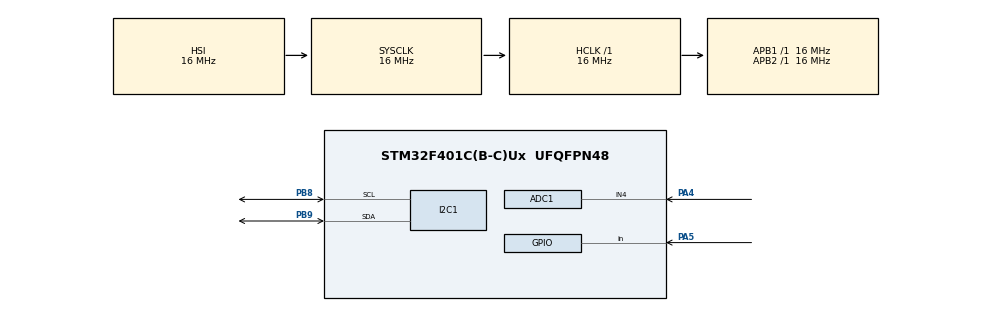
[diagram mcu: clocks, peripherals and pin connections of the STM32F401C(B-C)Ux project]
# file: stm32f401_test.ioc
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ADC1.Channel-2\#ChannelRegularConversion=ADC_CHANNEL_4
ADC1.NbrOfConversionFlag=1
ADC1.Rank-2\#ChannelRegularConversion=1
ADC1.SamplingTime-2\#ChannelRegularConversion=ADC_SAMPLETIME_3CYCLES
ADC1.master=1
Mcu.Family=STM32F4
Mcu.Name=STM32F401C(B-C)Ux
Mcu.Package=UFQFPN48
NVIC.PriorityGroup=NVIC_PRIORITYGROUP_4
PA4.Signal=ADCx_IN4
PA5.GPIO_PuPd=GPIO_PULLUP
PA5.Signal=GPIO_Input
PB8.Mode=I2C
PB8.Signal=I2C1_SCL
PB9.Mode=I2C
PB9.Signal=I2C1_SDA
ProjectManager.HeapSize=0x200
ProjectManager.StackSize=0x400
ProjectManager.TargetToolchain=STM32CubeIDE
RCC.AHBFreq_Value=16000000
RCC.APB1Freq_Value=16000000
RCC.APB2Freq_Value=16000000
RCC.CortexFreq_Value=16000000
RCC.HSE_VALUE=25000000
RCC.HSI_VALUE=16000000
RCC.LSE_VALUE=32768
RCC.SYSCLKFreq_VALUE=16000000
RCC.VCOOutputFreq_Value=192000000
SH.ADCx_IN4.0=ADC1_IN4,IN4
board=custom

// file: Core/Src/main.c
/* USER CODE BEGIN Header */
/**
  ******************************************************************************
  * @file           : main.c
  * @brief          : Main program body
  ******************************************************************************
  */
/* USER CODE END Header */
#include "main.h"

/* USER CODE BEGIN Includes */
#include <string.h>
/* USER CODE END Includes */

/* USER CODE BEGIN PTD */
typedef struct
{
  int16_t x;
  int16_t y;
  uint16_t speed_q8;
  uint16_t step_accumulator;
} EnemyState;

typedef struct
{
  int16_t ship_x;
  int16_t bullet_x;
  int16_t bullet_y;
  uint8_t bullet_active;
  uint8_t fire_button_prev;
  uint8_t restart_button_prev;
  uint8_t game_over;
  uint8_t hit_flash_frames;
  uint16_t joy_x;
  uint16_t joy_center;
  uint16_t score;
  uint32_t rng_state;
  EnemyState enemies[2];
} GameState;
/* USER CODE END PTD */

/* USER CODE BEGIN PD */
#define OLED_I2C_ADDRESS        (0x3CU << 1)
#define OLED_WIDTH              128U
#define OLED_HEIGHT             64U
#define OLED_PAGE_COUNT         (OLED_HEIGHT / 8U)
#define OLED_BUFFER_SIZE        (OLED_WIDTH * OLED_PAGE_COUNT)

#define SHIP_WIDTH              9
#define SHIP_HEIGHT             8
#define SHIP_Y                  ((int16_t)(OLED_HEIGHT - SHIP_HEIGHT))

#define BULLET_WIDTH            1
#define BULLET_HEIGHT           3
#define BULLET_SPEED            3

#define ENEMY_COUNT             2
#define ENEMY_WIDTH             7
#define ENEMY_HEIGHT            7
#define ENEMY_BASE_SPEED_Q8     10U
#define ENEMY_SCORE_SPEED_Q8    3U
#define ENEMY_SLOT_SPEED_Q8     10U
#define ENEMY_VARIATION_Q8      20U
#define ENEMY_MAX_SPEED_Q8      180U

#define JOY_DEADZONE            450
#define JOY_SPEED_STEP          350
#define PLAYER_MIN_SPEED        1
#define PLAYER_MAX_SPEED        5
#define FRAME_TIME_MS           25U
#define SCORE_MAX               999U
#define HIT_FLASH_FRAMES        3U

#define FIRE_BUTTON_PIN         GPIO_PIN_5
#define RESTART_BUTTON_PIN      GPIO_PIN_5
/* USER CODE END PD */

ADC_HandleTypeDef hadc1;

I2C_HandleTypeDef hi2c1;

/* USER CODE BEGIN PV */
static GameState game;
static uint8_t oled_frame[OLED_BUFFER_SIZE];
static uint8_t oled_previous_frame[OLED_BUFFER_SIZE];
/* USER CODE END PV */

void SystemClock_Config(void);
static void MX_GPIO_Init(void);
static void MX_I2C1_Init(void);
static void MX_ADC1_Init(void);
/* USER CODE BEGIN PFP */
static HAL_StatusTypeDef OLED_WriteCommand(uint8_t cmd);
static HAL_StatusTypeDef OLED_WriteData(const uint8_t *buf, uint16_t size);
static void OLED_Init(void);
static void OLED_ClearBuffer(uint8_t *buffer);
static void OLED_FlushBuffer(const uint8_t *current, uint8_t *previous);
static void OLED_SetPixel(uint8_t *buffer, int16_t x, int16_t y);
static void OLED_DrawHLine(uint8_t *buffer, int16_t x, int16_t y, int16_t width);
static void OLED_DrawVLine(uint8_t *buffer, int16_t x, int16_t y, int16_t height);
static void OLED_DrawRect(uint8_t *buffer, int16_t x, int16_t y, int16_t width, int16_t height);
static void OLED_DrawSpriteRows(uint8_t *buffer, int16_t x, int16_t y,
                                const uint16_t *rows, uint8_t width, uint8_t height);
static void OLED_DrawChar5x7(uint8_t *buffer, int16_t x, int16_t y, char c);
static void OLED_DrawText5x7(uint8_t *buffer, int16_t x, int16_t y, const char *text);
static void OLED_DrawNumber3(uint8_t *buffer, int16_t x, int16_t y, uint16_t value);
static uint8_t ButtonPressed(uint16_t pin);
static uint16_t Read_Joystick_X(void);
static uint16_t Calibrate_Joystick_X(void);
static uint32_t NextRandom(GameState *state);
static void SpawnEnemy(GameState *state, EnemyState *enemy, uint8_t slot, uint8_t initial_spawn);
static void Reset_Game(GameState *state);
static int16_t GetShipStepFromJoystick(int32_t joy_delta);
static uint8_t CheckRectCollision(int16_t ax, int16_t ay, uint8_t aw, uint8_t ah,
                                  int16_t bx, int16_t by, uint8_t bw, uint8_t bh);
static void Game_ProcessInput(GameState *state);
static void Game_Update(GameState *state);
static void Game_Render(const GameState *state);
/* USER CODE END PFP */

/* USER CODE BEGIN 0 */
static const uint16_t ship_sprite[SHIP_HEIGHT] = {
  0x010,
  0x038,
  0x07C,
  0x0FE,
  0x1FF,
  0x06C,
  0x0EE,
  0x183
};

static const uint16_t enemy_sprite[ENEMY_HEIGHT] = {
  0x01C,
  0x03E,
  0x06B,
  0x07F,
  0x05D,
  0x063,
  0x022
};

static HAL_StatusTypeDef OLED_WriteCommand(uint8_t cmd)
{
  uint8_t data[2];

  data[0] = 0x00;
  data[1] = cmd;

  return HAL_I2C_Master_Transmit(&hi2c1, OLED_I2C_ADDRESS, data, 2, 100);
}

static HAL_StatusTypeDef OLED_WriteData(const uint8_t *buf, uint16_t size)
{
  uint8_t data[129];

  if (size > 128U)
  {
    return HAL_ERROR;
  }

  data[0] = 0x40;
  memcpy(&data[1], buf, size);

  return HAL_I2C_Master_Transmit(&hi2c1, OLED_I2C_ADDRESS, data, size + 1U, 100);
}

static void OLED_Init(void)
{
  HAL_Delay(100);

  OLED_WriteCommand(0xAE);
  OLED_WriteCommand(0x20);
  OLED_WriteCommand(0x02);

  OLED_WriteCommand(0xB0);
  OLED_WriteCommand(0xC8);
  OLED_WriteCommand(0x00);
  OLED_WriteCommand(0x10);
  OLED_WriteCommand(0x40);

  OLED_WriteCommand(0x81);
  OLED_WriteCommand(0x7F);

  OLED_WriteCommand(0xA1);
  OLED_WriteCommand(0xA6);
  OLED_WriteCommand(0xA8);
  OLED_WriteCommand(0x3F);

  OLED_WriteCommand(0xA4);
  OLED_WriteCommand(0xD3);
  OLED_WriteCommand(0x00);

  OLED_WriteCommand(0xD5);
  OLED_WriteCommand(0x80);

  OLED_WriteCommand(0xD9);
  OLED_WriteCommand(0xF1);

  OLED_WriteCommand(0xDA);
  OLED_WriteCommand(0x12);

  OLED_WriteCommand(0xDB);
  OLED_WriteCommand(0x40);

  OLED_WriteCommand(0x8D);
  OLED_WriteCommand(0x14);

  OLED_WriteCommand(0xAF);
}

static void OLED_ClearBuffer(uint8_t *buffer)
{
  memset(buffer, 0, OLED_BUFFER_SIZE);
}

static void OLED_FlushBuffer(const uint8_t *current, uint8_t *previous)
{
  uint8_t page;

  for (page = 0; page < OLED_PAGE_COUNT; page++)
  {
    uint16_t base = (uint16_t)page * OLED_WIDTH;
    int16_t start = -1;
    int16_t end = -1;
    uint16_t x;

    for (x = 0; x < OLED_WIDTH; x++)
    {
      if (current[base + x] != previous[base + x])
      {
        if (start < 0)
        {
          start = (int16_t)x;
        }
        end = (int16_t)x;
      }
    }

    if (start < 0)
    {
      continue;
    }

    if (OLED_WriteCommand((uint8_t)(0xB0U + page)) != HAL_OK)
    {
      continue;
    }

    if (OLED_WriteCommand((uint8_t)(start & 0x0F)) != HAL_OK)
    {
      continue;
    }

    if (OLED_WriteCommand((uint8_t)(0x10U | ((uint16_t)start >> 4))) != HAL_OK)
    {
      continue;
    }

    if (OLED_WriteData(&current[base + (uint16_t)start], (uint16_t)(end - start + 1)) != HAL_OK)
    {
      continue;
    }

    memcpy(&previous[base + (uint16_t)start],
           &current[base + (uint16_t)start],
           (size_t)(end - start + 1));
  }
}

static void OLED_SetPixel(uint8_t *buffer, int16_t x, int16_t y)
{
  uint16_t index;

  if ((x < 0) || (x >= (int16_t)OLED_WIDTH) || (y < 0) || (y >= (int16_t)OLED_HEIGHT))
  {
    return;
  }

  index = (uint16_t)x + ((uint16_t)(y / 8) * OLED_WIDTH);
  buffer[index] |= (uint8_t)(1U << (uint8_t)(y % 8));
}

static void OLED_DrawHLine(uint8_t *buffer, int16_t x, int16_t y, int16_t width)
{
  int16_t column;

  for (column = 0; column < width; column++)
  {
    OLED_SetPixel(buffer, x + column, y);
  }
}

static void OLED_DrawVLine(uint8_t *buffer, int16_t x, int16_t y, int16_t height)
{
  int16_t row;

  for (row = 0; row < height; row++)
  {
    OLED_SetPixel(buffer, x, y + row);
  }
}

static void OLED_DrawRect(uint8_t *buffer, int16_t x, int16_t y, int16_t width, int16_t height)
{
  if ((width <= 0) || (height <= 0))
  {
    return;
  }

  OLED_DrawHLine(buffer, x, y, width);
  OLED_DrawHLine(buffer, x, (int16_t)(y + height - 1), width);
  OLED_DrawVLine(buffer, x, y, height);
  OLED_DrawVLine(buffer, (int16_t)(x + width - 1), y, height);
}

static void OLED_DrawSpriteRows(uint8_t *buffer, int16_t x, int16_t y,
                                const uint16_t *rows, uint8_t width, uint8_t height)
{
  uint8_t row;
  uint8_t column;

  for (row = 0; row < height; row++)
  {
    for (column = 0; column < width; column++)
    {
      if ((rows[row] & (uint16_t)(1U << (width - 1U - column))) != 0U)
      {
        OLED_SetPixel(buffer, (int16_t)(x + column), (int16_t)(y + row));
      }
    }
  }
}

static const uint8_t *Glyph5x7(char c)
{
  static const uint8_t glyph_space[5] = {0x00, 0x00, 0x00, 0x00, 0x00};
  static const uint8_t glyph_0[5] = {0x3E, 0x51, 0x49, 0x45, 0x3E};
  static const uint8_t glyph_1[5] = {0x00, 0x42, 0x7F, 0x40, 0x00};
  static const uint8_t glyph_2[5] = {0x62, 0x51, 0x49, 0x49, 0x46};
  static const uint8_t glyph_3[5] = {0x22, 0x49, 0x49, 0x49, 0x36};
  static const uint8_t glyph_4[5] = {0x18, 0x14, 0x12, 0x7F, 0x10};
  static const uint8_t glyph_5[5] = {0x2F, 0x49, 0x49, 0x49, 0x31};
  static const uint8_t glyph_6[5] = {0x3E, 0x49, 0x49, 0x49, 0x32};
  static const uint8_t glyph_7[5] = {0x01, 0x71, 0x09, 0x05, 0x03};
  static const uint8_t glyph_8[5] = {0x36, 0x49, 0x49, 0x49, 0x36};
  static const uint8_t glyph_9[5] = {0x26, 0x49, 0x49, 0x49, 0x3E};
  static const uint8_t glyph_A[5] = {0x7E, 0x11, 0x11, 0x11, 0x7E};
  static const uint8_t glyph_C[5] = {0x3E, 0x41, 0x41, 0x41, 0x22};
  static const uint8_t glyph_E[5] = {0x7F, 0x49, 0x49, 0x49, 0x41};
  static const uint8_t glyph_G[5] = {0x3E, 0x41, 0x49, 0x49, 0x7A};
  static const uint8_t glyph_M[5] = {0x7F, 0x02, 0x0C, 0x02, 0x7F};
  static const uint8_t glyph_O[5] = {0x3E, 0x41, 0x41, 0x41, 0x3E};
  static const uint8_t glyph_P[5] = {0x7F, 0x09, 0x09, 0x09, 0x06};
  static const uint8_t glyph_R[5] = {0x7F, 0x09, 0x19, 0x29, 0x46};
  static const uint8_t glyph_S[5] = {0x26, 0x49, 0x49, 0x49, 0x32};
  static const uint8_t glyph_V[5] = {0x1F, 0x20, 0x40, 0x20, 0x1F};

  switch (c)
  {
    case '0': return glyph_0;
    case '1': return glyph_1;
    case '2': return glyph_2;
    case '3': return glyph_3;
    case '4': return glyph_4;
    case '5': return glyph_5;
    case '6': return glyph_6;
    case '7': return glyph_7;
    case '8': return glyph_8;
    case '9': return glyph_9;
    case 'A': return glyph_A;
    case 'C': return glyph_C;
    case 'E': return glyph_E;
    case 'G': return glyph_G;
    case 'M': return glyph_M;
    case 'O': return glyph_O;
    case 'P': return glyph_P;
    case 'R': return glyph_R;
    case 'S': return glyph_S;
    case 'V': return glyph_V;
    case ' ': return glyph_space;
    default:  return glyph_space;
  }
}

static void OLED_DrawChar5x7(uint8_t *buffer, int16_t x, int16_t y, char c)
{
  const uint8_t *glyph = Glyph5x7(c);
  uint8_t column;
  uint8_t row;

  for (column = 0; column < 5U; column++)
  {
    for (row = 0; row < 7U; row++)
    {
      if ((glyph[column] & (uint8_t)(1U << row)) != 0U)
      {
        OLED_SetPixel(buffer, (int16_t)(x + column), (int16_t)(y + row));
      }
    }
  }
}

static void OLED_DrawText5x7(uint8_t *buffer, int16_t x, int16_t y, const char *text)
{
  while (*text != '\0')
  {
    OLED_DrawChar5x7(buffer, x, y, *text);
    x += 6;
    text++;
  }
}

static void OLED_DrawNumber3(uint8_t *buffer, int16_t x, int16_t y, uint16_t value)
{
  char digits[4];

  if (value > SCORE_MAX)
  {
    value = SCORE_MAX;
  }

  digits[0] = (char)('0' + ((value / 100U) % 10U));
  digits[1] = (char)('0' + ((value / 10U) % 10U));
  digits[2] = (char)('0' + (value % 10U));
  digits[3] = '\0';

  OLED_DrawText5x7(buffer, x, y, digits);
}

static uint8_t ButtonPressed(uint16_t pin)
{
  return (HAL_GPIO_ReadPin(GPIOA, pin) == GPIO_PIN_RESET) ? 1U : 0U;
}

static uint16_t Read_Joystick_X(void)
{
  uint16_t value = 2048U;

  if (HAL_ADC_Start(&hadc1) != HAL_OK)
  {
    return value;
  }

  if (HAL_ADC_PollForConversion(&hadc1, 100) == HAL_OK)
  {
    value = (uint16_t)HAL_ADC_GetValue(&hadc1);
  }

  HAL_ADC_Stop(&hadc1);

  return value;
}

static uint16_t Calibrate_Joystick_X(void)
{
  uint32_t sum = 0;
  uint8_t sample;

  for (sample = 0; sample < 8U; sample++)
  {
    sum += Read_Joystick_X();
  }

  return (uint16_t)(sum / 8U);
}

static uint32_t NextRandom(GameState *state)
{
  state->rng_state = (state->rng_state * 1664525UL) + 1013904223UL;
  return state->rng_state;
}

static void SpawnEnemy(GameState *state, EnemyState *enemy, uint8_t slot, uint8_t initial_spawn)
{
  uint16_t random_x;
  uint16_t speed_q8;

  random_x = (uint16_t)(NextRandom(state) % (OLED_WIDTH - ENEMY_WIDTH));
  enemy->x = (int16_t)random_x;
  enemy->step_accumulator = 0;

  if (initial_spawn != 0U)
  {
    enemy->y = (int16_t)(-12 - ((int16_t)slot * 18));
  }
  else
  {
    enemy->y = (int16_t)(-10 - (int16_t)(NextRandom(state) % 20U));
  }

  speed_q8 = (uint16_t)(ENEMY_BASE_SPEED_Q8 +
                        (state->score * ENEMY_SCORE_SPEED_Q8) +
                        ((uint16_t)slot * ENEMY_SLOT_SPEED_Q8) +
                        (NextRandom(state) % ENEMY_VARIATION_Q8));
  if (speed_q8 > ENEMY_MAX_SPEED_Q8)
  {
    speed_q8 = ENEMY_MAX_SPEED_Q8;
  }
  enemy->speed_q8 = speed_q8;
}

static void Reset_Game(GameState *state)
{
  uint8_t enemy_index;

  memset(state, 0, sizeof(*state));

  state->ship_x = (int16_t)((OLED_WIDTH - SHIP_WIDTH) / 2U);
  state->joy_center = Calibrate_Joystick_X();
  state->joy_x = state->joy_center;
  state->rng_state = 0xA341316CUL ^ HAL_GetTick() ^ ((uint32_t)state->joy_center << 12);

  if (state->rng_state == 0U)
  {
    state->rng_state = 0x1U;
  }

  for (enemy_index = 0; enemy_index < ENEMY_COUNT; enemy_index++)
  {
    SpawnEnemy(state, &state->enemies[enemy_index], enemy_index, 1U);
  }

  state->fire_button_prev = ButtonPressed(FIRE_BUTTON_PIN);
  state->restart_button_prev = ButtonPressed(RESTART_BUTTON_PIN);
}

static int16_t GetShipStepFromJoystick(int32_t joy_delta)
{
  int32_t abs_delta;
  int16_t speed;

  if ((joy_delta > -(int32_t)JOY_DEADZONE) && (joy_delta < (int32_t)JOY_DEADZONE))
  {
    return 0;
  }

  abs_delta = (joy_delta < 0) ? -joy_delta : joy_delta;
  speed = (int16_t)(PLAYER_MIN_SPEED + ((abs_delta - JOY_DEADZONE) / JOY_SPEED_STEP));

  if (speed > PLAYER_MAX_SPEED)
  {
    speed = PLAYER_MAX_SPEED;
  }

  return (joy_delta < 0) ? (int16_t)(-speed) : speed;
}

static uint8_t CheckRectCollision(int16_t ax, int16_t ay, uint8_t aw, uint8_t ah,
                                  int16_t bx, int16_t by, uint8_t bw, uint8_t bh)
{
  int16_t a_right = (int16_t)(ax + (int16_t)aw - 1);
  int16_t a_bottom = (int16_t)(ay + (int16_t)ah - 1);
  int16_t b_right = (int16_t)(bx + (int16_t)bw - 1);
  int16_t b_bottom = (int16_t)(by + (int16_t)bh - 1);

  if (a_right < bx) return 0U;
  if (ax > b_right) return 0U;
  if (a_bottom < by) return 0U;
  if (ay > b_bottom) return 0U;

  return 1U;
}

static void Game_ProcessInput(GameState *state)
{
  int32_t joy_delta;
  int16_t ship_step;
  uint8_t fire_pressed = ButtonPressed(FIRE_BUTTON_PIN);
  uint8_t restart_pressed = ButtonPressed(RESTART_BUTTON_PIN);

  state->joy_x = Read_Joystick_X();

  if ((restart_pressed != 0U) && (state->restart_button_prev == 0U) && (state->game_over != 0U))
  {
    Reset_Game(state);
    return;
  }

  if (state->game_over == 0U)
  {
    joy_delta = (int32_t)state->joy_x - (int32_t)state->joy_center;
    ship_step = GetShipStepFromJoystick(joy_delta);
    state->ship_x = (int16_t)(state->ship_x + ship_step);

    if (state->ship_x < 0)
    {
      state->ship_x = 0;
    }

    if (state->ship_x > (int16_t)(OLED_WIDTH - SHIP_WIDTH))
    {
      state->ship_x = (int16_t)(OLED_WIDTH - SHIP_WIDTH);
    }

    if ((fire_pressed != 0U) && (state->fire_button_prev == 0U) && (state->bullet_active == 0U))
    {
      state->bullet_active = 1U;
      state->bullet_x = (int16_t)(state->ship_x + (SHIP_WIDTH / 2));
      state->bullet_y = (int16_t)(SHIP_Y - BULLET_HEIGHT);
    }
  }

  state->fire_button_prev = fire_pressed;
  state->restart_button_prev = restart_pressed;
}

static void Game_Update(GameState *state)
{
  uint8_t enemy_index;

  if (state->game_over != 0U)
  {
    return;
  }

  if (state->hit_flash_frames > 0U)
  {
    state->hit_flash_frames--;
  }

  if (state->bullet_active != 0U)
  {
    state->bullet_y -= BULLET_SPEED;

    if ((state->bullet_y + BULLET_HEIGHT) < 0)
    {
      state->bullet_active = 0U;
    }
  }

  for (enemy_index = 0; enemy_index < ENEMY_COUNT; enemy_index++)
  {
    EnemyState *enemy = &state->enemies[enemy_index];

    enemy->step_accumulator = (uint16_t)(enemy->step_accumulator + enemy->speed_q8);
    while (enemy->step_accumulator >= 256U)
    {
      enemy->step_accumulator = (uint16_t)(enemy->step_accumulator - 256U);
      enemy->y++;
    }

    if ((state->bullet_active != 0U) &&
        CheckRectCollision(state->bullet_x, state->bullet_y, BULLET_WIDTH, BULLET_HEIGHT,
                           enemy->x, enemy->y, ENEMY_WIDTH, ENEMY_HEIGHT) != 0U)
    {
      state->bullet_active = 0U;
      if (state->score < SCORE_MAX)
      {
        state->score++;
      }
      state->hit_flash_frames = HIT_FLASH_FRAMES;
      SpawnEnemy(state, enemy, enemy_index, 0U);
      continue;
    }

    if (CheckRectCollision(state->ship_x, SHIP_Y, SHIP_WIDTH, SHIP_HEIGHT,
                           enemy->x, enemy->y, ENEMY_WIDTH, ENEMY_HEIGHT) != 0U)
    {
      state->game_over = 1U;
      break;
    }

    if ((enemy->y + ENEMY_HEIGHT) >= (int16_t)OLED_HEIGHT)
    {
      state->game_over = 1U;
      break;
    }
  }
}

static void Game_Render(const GameState *state)
{
  uint8_t enemy_index;

  OLED_ClearBuffer(oled_frame);

  if (state->hit_flash_frames != 0U)
  {
    OLED_DrawRect(oled_frame, 0, 0, (int16_t)OLED_WIDTH, (int16_t)OLED_HEIGHT);
  }

  if (state->bullet_active != 0U)
  {
    OLED_SetPixel(oled_frame, state->bullet_x, state->bullet_y);
    OLED_SetPixel(oled_frame, state->bullet_x, (int16_t)(state->bullet_y + 1));
    OLED_SetPixel(oled_frame, state->bullet_x, (int16_t)(state->bullet_y + 2));
  }

  for (enemy_index = 0; enemy_index < ENEMY_COUNT; enemy_index++)
  {
    OLED_DrawSpriteRows(oled_frame, state->enemies[enemy_index].x, state->enemies[enemy_index].y,
                        enemy_sprite, ENEMY_WIDTH, ENEMY_HEIGHT);
  }

  OLED_DrawSpriteRows(oled_frame, state->ship_x, SHIP_Y, ship_sprite, SHIP_WIDTH, SHIP_HEIGHT);

  OLED_DrawText5x7(oled_frame, 0, 0, "SCORE");
  OLED_DrawNumber3(oled_frame, 36, 0, state->score);
  OLED_DrawHLine(oled_frame, 0, 8, (int16_t)OLED_WIDTH);

  if (state->game_over != 0U)
  {
    OLED_DrawRect(oled_frame, 18, 18, 92, 32);
    OLED_DrawText5x7(oled_frame, 28, 22, "GAME OVER");
    OLED_DrawText5x7(oled_frame, 24, 34, "SCORE");
    OLED_DrawNumber3(oled_frame, 60, 34, state->score);
  }

  OLED_FlushBuffer(oled_frame, oled_previous_frame);
}
/* USER CODE END 0 */

int main(void)
{

  /* USER CODE BEGIN 1 */
  uint32_t next_frame_tick;
  /* USER CODE END 1 */

  /* MCU Configuration--------------------------------------------------------*/

  /* Reset of all peripherals, Initializes the Flash interface and the Systick. */
  HAL_Init();

  /* Configure the system clock */
  SystemClock_Config();

  /* Initialize all configured peripherals */
  MX_GPIO_Init();
  MX_I2C1_Init();
  MX_ADC1_Init();
  /* USER CODE BEGIN 2 */
  OLED_Init();
  OLED_ClearBuffer(oled_frame);
  memset(oled_previous_frame, 0xFF, sizeof(oled_previous_frame));
  Reset_Game(&game);
  Game_Render(&game);
  next_frame_tick = HAL_GetTick();
  /* USER CODE END 2 */

  /* Infinite loop */
  while (1)
  {

    /* USER CODE BEGIN 3 */
    uint32_t now = HAL_GetTick();

    if ((int32_t)(now - next_frame_tick) >= 0)
    {
      next_frame_tick += FRAME_TIME_MS;
      Game_ProcessInput(&game);
      Game_Update(&game);
      Game_Render(&game);
    }
    else
    {
      HAL_Delay(1);
    }
  }
  /* USER CODE END 3 */
}

void SystemClock_Config(void)
{
  RCC_OscInitTypeDef RCC_OscInitStruct = {0};
  RCC_ClkInitTypeDef RCC_ClkInitStruct = {0};

  /** Configure the main internal regulator output voltage
  */
  __HAL_RCC_PWR_CLK_ENABLE();
  __HAL_PWR_VOLTAGESCALING_CONFIG(PWR_REGULATOR_VOLTAGE_SCALE2);

  /** Initializes the RCC Oscillators according to the specified parameters
  * in the RCC_OscInitTypeDef structure.
  */
  RCC_OscInitStruct.OscillatorType = RCC_OSCILLATORTYPE_HSI;
  RCC_OscInitStruct.HSIState = RCC_HSI_ON;
  RCC_OscInitStruct.HSICalibrationValue = RCC_HSICALIBRATION_DEFAULT;
  RCC_OscInitStruct.PLL.PLLState = RCC_PLL_NONE;
  if (HAL_RCC_OscConfig(&RCC_OscInitStruct) != HAL_OK)
  {
    Error_Handler();
  }

  /** Initializes the CPU, AHB and APB buses clocks
  */
  RCC_ClkInitStruct.ClockType = RCC_CLOCKTYPE_HCLK|RCC_CLOCKTYPE_SYSCLK
                              |RCC_CLOCKTYPE_PCLK1|RCC_CLOCKTYPE_PCLK2;
  RCC_ClkInitStruct.SYSCLKSource = RCC_SYSCLKSOURCE_HSI;
  RCC_ClkInitStruct.AHBCLKDivider = RCC_SYSCLK_DIV1;
  RCC_ClkInitStruct.APB1CLKDivider = RCC_HCLK_DIV1;
  RCC_ClkInitStruct.APB2CLKDivider = RCC_HCLK_DIV1;

  if (HAL_RCC_ClockConfig(&RCC_ClkInitStruct, FLASH_LATENCY_0) != HAL_OK)
  {
    Error_Handler();
  }
}

static void MX_ADC1_Init(void)
{

  ADC_ChannelConfTypeDef sConfig = {0};

  /** Configure the global features of the ADC (Clock, Resolution, Data Alignment and number of conversion)
  */
  hadc1.Instance = ADC1;
  hadc1.Init.ClockPrescaler = ADC_CLOCK_SYNC_PCLK_DIV2;
  hadc1.Init.Resolution = ADC_RESOLUTION_12B;
  hadc1.Init.ScanConvMode = DISABLE;
  hadc1.Init.ContinuousConvMode = DISABLE;
  hadc1.Init.DiscontinuousConvMode = DISABLE;
  hadc1.Init.ExternalTrigConvEdge = ADC_EXTERNALTRIGCONVEDGE_NONE;
  hadc1.Init.ExternalTrigConv = ADC_SOFTWARE_START;
  hadc1.Init.DataAlign = ADC_DATAALIGN_RIGHT;
  hadc1.Init.NbrOfConversion = 1;
  hadc1.Init.DMAContinuousRequests = DISABLE;
  hadc1.Init.EOCSelection = ADC_EOC_SINGLE_CONV;
  if (HAL_ADC_Init(&hadc1) != HAL_OK)
  {
    Error_Handler();
  }

  /** Configure for the selected ADC regular channel its corresponding rank in the sequencer and its sample time.
  */
  sConfig.Channel = ADC_CHANNEL_4;
  sConfig.Rank = 1;
  sConfig.SamplingTime = ADC_SAMPLETIME_3CYCLES;
  if (HAL_ADC_ConfigChannel(&hadc1, &sConfig) != HAL_OK)
  {
    Error_Handler();
  }

}

static void MX_I2C1_Init(void)
{

  hi2c1.Instance = I2C1;
  hi2c1.Init.ClockSpeed = 100000;
  hi2c1.Init.DutyCycle = I2C_DUTYCYCLE_2;
  hi2c1.Init.OwnAddress1 = 0;
  hi2c1.Init.AddressingMode = I2C_ADDRESSINGMODE_7BIT;
  hi2c1.Init.DualAddressMode = I2C_DUALADDRESS_DISABLE;
  hi2c1.Init.OwnAddress2 = 0;
  hi2c1.Init.GeneralCallMode = I2C_GENERALCALL_DISABLE;
  hi2c1.Init.NoStretchMode = I2C_NOSTRETCH_DISABLE;
  if (HAL_I2C_Init(&hi2c1) != HAL_OK)
  {
    Error_Handler();
  }

}

static void MX_GPIO_Init(void)
{
  GPIO_InitTypeDef GPIO_InitStruct = {0};

  /* GPIO Ports Clock Enable */
  __HAL_RCC_GPIOA_CLK_ENABLE();
  __HAL_RCC_GPIOB_CLK_ENABLE();

  /*Configure GPIO pin : PA5 */
  GPIO_InitStruct.Pin = GPIO_PIN_5;
  GPIO_InitStruct.Mode = GPIO_MODE_INPUT;
  GPIO_InitStruct.Pull = GPIO_PULLUP;
  HAL_GPIO_Init(GPIOA, &GPIO_InitStruct);

}

void Error_Handler(void)
{
  __disable_irq();
  while (1)
  {
  }
}
